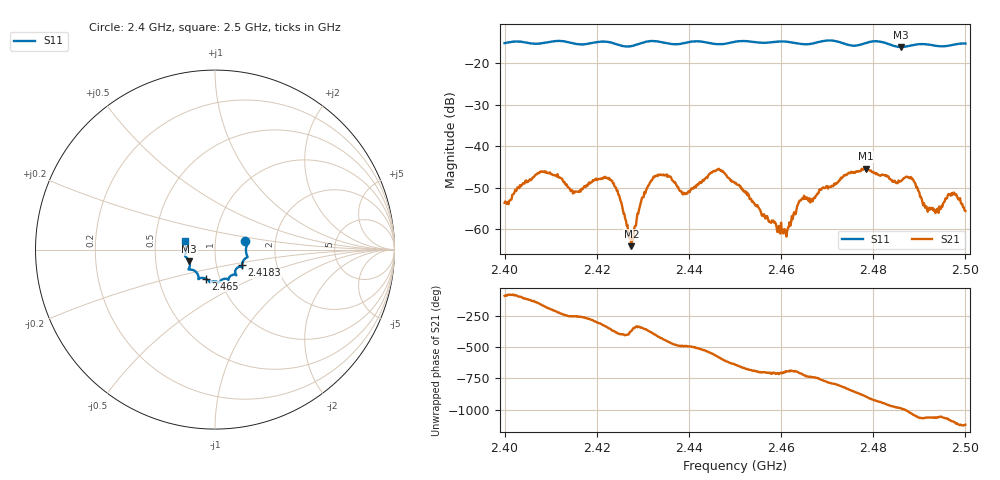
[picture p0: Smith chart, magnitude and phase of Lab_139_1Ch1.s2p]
# Hz S RI R 50
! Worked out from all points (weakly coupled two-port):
!   601 points, 2.4 GHz to 2.5 GHz, reference 50 ohm
!   highest |S21| = -45.40 dB at 2.4783 GHz (marker M1); lowest = -64.2 dB at 2.4275 GHz (marker M2)
!   lowest |S11| = -16.1 dB at 2.486 GHz (marker M3), VSWR 1.37, Z = 37.2 - j4.98 ohm
!   |S11| at or under -10 dB: start of sweep to end of sweep
!   S12 and S22 are empty: the file has one direction only
!   S11 on the Smith chart (normalised r, x): 2.4 GHz: 1.40, +0.13; 2.4183 GHz: 1.33, -0.24; 2.465 GHz: 0.86, -0.29; 2.5 GHz: 0.71, +0.07
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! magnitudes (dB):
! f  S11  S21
! 2.4 GHz  -15.1  -53.7
! 2.4082 GHz  -15.1  -46.1
! 2.4167 GHz  -15.4  -50.3
! 2.4183 GHz  -15.2  -48.7
! 2.4232 GHz  -15.0  -48.3
! 2.425 GHz  -15.6  -52.6
! 2.4275 GHz  -15.8  -64.2
! 2.43 GHz  -15.0  -52.4
! 2.4333 GHz  -14.7  -46.9
! 2.4392 GHz  -15.1  -51.4
! 2.446 GHz  -15.4  -45.8
! 2.45 GHz  -14.8  -48.9
! 2.4607 GHz  -14.7  -60.0
! 2.465 GHz  -15.4  -52.0
! 2.4667 GHz  -15.3  -52.8
! 2.4783 GHz  -15.1  -45.4
! 2.4833 GHz  -15.3  -47.4
! 2.486 GHz  -16.1  -48.5
! 2.4885 GHz  -15.6  -47.9
! 2.4918 GHz  -15.4  -55.9
! 2.4975 GHz  -15.5  -51.2
! 2.5 GHz  -15.2  -55.6
